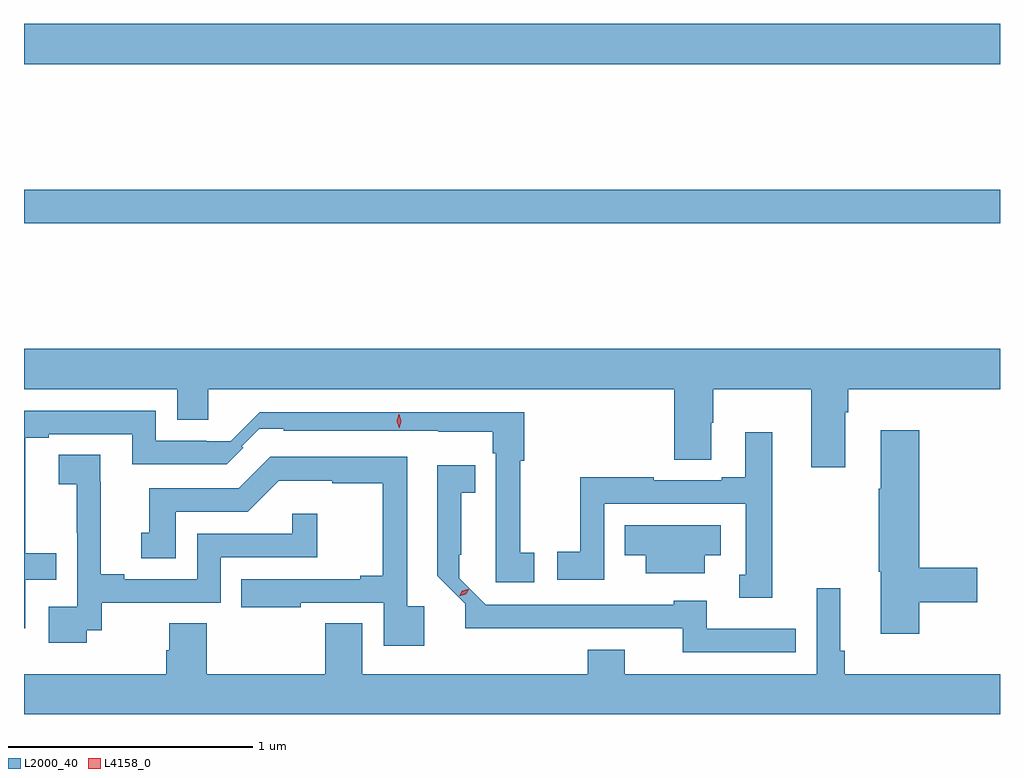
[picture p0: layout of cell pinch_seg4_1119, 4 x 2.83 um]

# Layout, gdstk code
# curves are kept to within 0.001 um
import gdstk
lib = gdstk.Library(unit=1e-6, precision=1e-09)
def R(c, l, rs):  # rectangles x0, y0, x1, y1
    for r in rs: c.add(gdstk.rectangle(r[:2], r[2:], *l))
def P(c, l, *ps):  # polygons
    for p in ps: c.add(gdstk.Polygon(p, *l))
L2000_40 = (2000, 40)
L4158_0 = (4158, 0)

pinch_seg4_1119 = lib.new_cell('pinch_seg4_1119')
R(pinch_seg4_1119, L2000_40, [(515.251,790.84,519.251,790.976), (515.251,791.492,519.251,791.656)])
P(pinch_seg4_1119, L2000_40, [(518.617,790.064),(518.63,790.064),(518.63,790.16),(519.251,790.16),(519.251,790.324),(515.251,790.324),(515.251,790.16),(515.879,790.16),(515.879,790.033),(516.007,790.033),(516.007,790.16),(517.916,790.16),(517.916,789.871),(518.068,789.871),(518.068,790.022),(518.076,790.022),(518.076,790.16),(518.477,790.16),(518.477,789.84),(518.617,789.84)],
  [(515.256,789.378),(515.384,789.378),(515.384,789.487),(515.257,789.487),(515.257,789.96),(515.353,789.96),(515.353,789.975),(515.694,789.975),(515.694,789.852),(516.082,789.852),(516.15,789.92),(516.144,789.926),(516.215,789.997),(516.315,789.997),(516.315,789.989),(516.948,789.989),(516.948,789.984),(517.173,789.984),(517.173,789.897),(517.185,789.897),(517.184,789.369),(517.342,789.369),(517.342,789.489),(517.284,789.489),(517.284,789.865),(517.301,789.865),(517.301,790.065),(516.218,790.065),(516.098,789.945),(515.998,789.945),(515.998,789.948),(515.79,789.948),(515.79,790.071),(515.251,790.071),(515.251,789.18),(515.256,789.18)],
  [(518.921,789.286),(519.157,789.286),(519.157,789.428),(518.921,789.428),(518.921,789.991),(518.762,789.991),(518.762,789.752),(518.755,789.752),(518.755,789.411),(518.762,789.411),(518.762,789.156),(518.921,789.156)],
  [(518.317,789.982),(518.207,789.982),(518.207,789.799),(518.111,789.799),(518.111,789.786),(517.832,789.786),(517.832,789.799),(517.531,789.799),(517.531,789.494),(517.437,789.494),(517.437,789.378),(517.629,789.378),(517.629,789.69),(518.208,789.69),(518.208,789.399),(518.183,789.399),(518.183,789.305),(518.317,789.305)],
  [(515.508,789.171),(515.57,789.171),(515.57,789.285),(516.057,789.285),(516.057,789.471),(516.452,789.471),(516.452,789.649),(516.351,789.649),(516.351,789.567),(515.961,789.567),(515.961,789.381),(515.662,789.381),(515.662,789.401),(515.566,789.401),(515.566,789.779),(515.564,789.779),(515.564,789.89),(515.394,789.89),(515.394,789.769),(515.468,789.769),(515.468,789.571),(515.469,789.571),(515.469,789.267),(515.352,789.267),(515.352,789.12),(515.508,789.12)],
  [(516.892,789.269),(516.822,789.269),(516.822,789.882),(516.26,789.882),(516.131,789.753),(515.765,789.753),(515.765,789.57),(515.732,789.57),(515.732,789.466),(515.872,789.466),(515.872,789.657),(516.168,789.657),(516.296,789.785),(516.515,789.785),(516.515,789.774),(516.721,789.774),(516.721,789.394),(516.629,789.394),(516.629,789.381),(516.142,789.381),(516.142,789.266),(516.385,789.266),(516.385,789.285),(516.726,789.285),(516.726,789.108),(516.892,789.108)],
  [(518.414,789.177),(518.05,789.177),(518.05,789.292),(517.914,789.292),(517.914,789.276),(517.143,789.276),(517.035,789.384),(517.035,789.481),(517.042,789.481),(517.042,789.734),(517.1,789.734),(517.1,789.847),(516.945,789.847),(516.945,789.394),(517.059,789.28),(517.059,789.179),(517.951,789.18),(517.951,789.081),(518.414,789.081)],
  [(518.041,789.479),(518.107,789.479),(518.107,789.601),(517.714,789.601),(517.714,789.479),(517.799,789.479),(517.799,789.404),(518.041,789.404)],
  [(519.251,788.992),(518.615,788.992),(518.615,789.088),(518.596,789.088),(518.596,789.343),(518.499,789.343),(518.499,788.992),(517.714,788.992),(517.714,789.091),(517.562,789.091),(517.562,788.992),(516.637,788.992),(516.637,789.2),(516.485,789.2),(516.485,788.992),(515.999,788.992),(515.999,789.2),(515.846,789.2),(515.846,789.09),(515.834,789.09),(515.834,788.992),(515.251,788.992),(515.251,788.828),(519.251,788.828)])
P(pinch_seg4_1119, L4158_0, [(517.034,789.31),(517.034,789.31),(517.048,789.334),(517.075,789.342),(517.075,789.342),(517.075,789.342),(517.061,789.318),(517.034,789.31)],
  [(516.788,790),(516.788,790),(516.778,790.028),(516.787,790.056),(516.788,790.056),(516.788,790.056),(516.798,790.028),(516.788,790)])

lib.write_gds('pinch_seg4_1119.gds')
